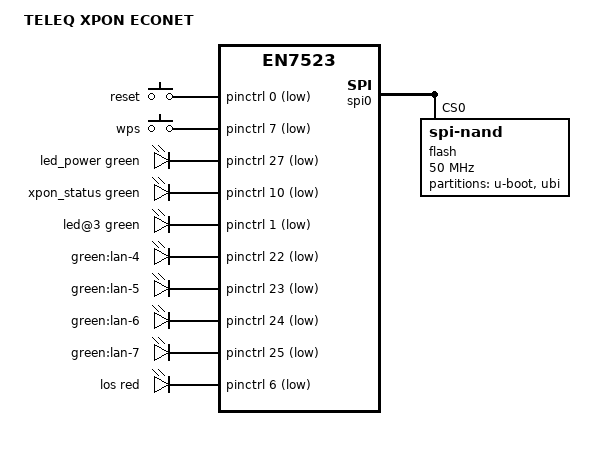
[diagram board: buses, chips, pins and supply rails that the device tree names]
/* SPDX-License-Identifier: GPL-2.0-or-later OR MIT */
/dts-v1/;

#include <dt-bindings/leds/common.h>
#include <dt-bindings/gpio/gpio.h>
#include <dt-bindings/input/input.h>
#include "en7523.dtsi"

/ {
	model = "TELEQ XPON ECONET";
	compatible = "teleq,econet", "airoha,en7523";

	chosen {
		rootdisk = <&firmware>;
		bootargs = "console=ttyS0,115200 earlycon ubi.block=0,fit root=/dev/fit0 rootwait";
		stdout-path = "serial0:115200n8";
	};

	aliases {
		serial0 = &uart1;
		led-boot = &led_power;
		led-failsafe = &led_power;
		led-upgrade = &led_power;
		led-running = &led_power;
	};

	keys {
		compatible = "gpio-keys-polled";
		poll-interval = <100>;

		reset {
			label = "reset";
			linux,code = <KEY_RESTART>;
			gpios = <&pinctrl 0 GPIO_ACTIVE_LOW>;
			debounce-interval = <60>;
		};

		wps {
			label = "wps";
			linux,code = <KEY_WPS_BUTTON>;
			gpios = <&pinctrl 7 GPIO_ACTIVE_LOW>;
			debounce-interval = <60>;
		};
		
// TO BE DEFINED
//		wifi {
//			label = "wifi";
//			linux,code = <KEY_WIFI_BUTTON>;
//			gpios = <&pinctrl x GPIO_ACTIVE_LOW>;
//			debounce-interval = <60>;
//		}; 
	};

	leds {
		compatible = "gpio-leds";

		// Power
		led_power: led@0 {
			color = <LED_COLOR_ID_GREEN>;
			function = LED_FUNCTION_STATUS;
			function-enumerator = <0>;
			gpios = <&pinctrl 27 GPIO_ACTIVE_LOW>;
		};

		// xPON
		xpon_status: led@1 {
			color = <LED_COLOR_ID_GREEN>;
			function = LED_FUNCTION_STATUS;
			function-enumerator = <1>;
			gpios = <&pinctrl 10 GPIO_ACTIVE_LOW>;
		};

		// internet
		led@3 {
			color = <LED_COLOR_ID_GREEN>;
			function = LED_FUNCTION_WAN_ONLINE;
			function-enumerator = <3>;
			gpios = <&pinctrl 1 GPIO_ACTIVE_LOW>;
		};

		// LAN
		led@4 {
			label = "green:lan-4";
			gpios = <&pinctrl 22 GPIO_ACTIVE_LOW>;
			default-state = "off";
		};

		led@5 {
			label = "green:lan-5";
			gpios = <&pinctrl 23 GPIO_ACTIVE_LOW>;
			default-state = "off";
		};

		led@6 {
			label = "green:lan-6";
			gpios = <&pinctrl 24 GPIO_ACTIVE_LOW>;
			default-state = "off";
		};


		led@7 {
			label = "green:lan-7";
			gpios = <&pinctrl 25 GPIO_ACTIVE_LOW>;
			default-state = "off";
		};

// TO BE DEFINED
//		// Wireless
//		led@8 {
//			color = <LED_COLOR_ID_GREEN>;
//			function = LED_FUNCTION_WLAN;
//			function-enumerator = <8>;
//			gpios = <&pinctrl x GPIO_ACTIVE_LOW>;
//		};

//		// WPS
//		led@9 {
//			color = <LED_COLOR_ID_GREEN>;
//			function = LED_FUNCTION_STATUS;
//			function-enumerator = <9>;
//			gpios = <&pinctrl x GPIO_ACTIVE_HIGH>;
//		};

		// LOS
		los: led@2 {
			color = <LED_COLOR_ID_RED>;
			function = LED_FUNCTION_STATUS;
			function-enumerator = <2>;
			gpios = <&pinctrl 6 GPIO_ACTIVE_LOW>;
		};

	};
};

/*
Old maping NAND
	0x000000000000-0x000000080000 : "bootloader"
	0x000000080000-0x0000000c0000 : "romfile"
	---
	0x000006dc0000-0x000007000000 : "reservearea" (0x240000)
4-digits:
	0x0000000c0000-0x000001ec0000 : "tclinux"
	0x000001ec0000-0x000003cc0000 : "tclinux_slave"
	0x000003cc0000-0x000003dc0000 : "config"
	0x000003dc0000-0x0000047c0000 : "userdata"
7-digits:
	0x0000000c0000-0x0000028c0000 : "tclinux"
	0x0000028c0000-0x0000050c0000 : "tclinux_slave"
	0x0000050c0000-0x0000064c0000 : "data"
	0x0000064c0000-0x0000066c0000 : "config"

	---------------------------------------------------------------------

New Maping:
	0x00000000-0x00100000 : BL1 + FIP (BL2 + BL31 + BL33)
	0x00100000-0x00000000 : UBI (uboot env{1,2} + art(reservearea) + fit (firmware))
*/

&spi0 {
	flash@0 {
		reg = <0>;
		compatible = "spi-nand";
		spi-max-frequency = <50000000>;
		spi-tx-bus-width = <1>;
		spi-rx-bus-width = <2>;

		partitions {
			compatible = "fixed-partitions";
			#address-cells = <1>;
			#size-cells = <1>;

			partition@0 {
				label = "u-boot";
				reg = <0x000000 0x100000>;
				read-only;
			};

			partition@100000 {
				label = "ubi";
				compatible = "linux,ubi";
				reg = <0x100000 0x000000>;

				volumes {
					ubi-volume-ubootenv {
						volname = "ubootenv";
						nvmem-layout {
							compatible = "u-boot,env-redundant-bool";
						};
					};

					ubi-volume-ubootenv2 {
						volname = "ubootenv2";
						nvmem-layout {
							compatible = "u-boot,env-redundant-bool";

							ubootenv_ethaddr: ethaddr {
								#nvmem-cell-cells = <1>;
						};
					};

					ubi-volume-art {
						volname = "art";
						read-only;

						nvmem-layout {
							compatible = "fixed-layout";
							#address-cells = <1>;
							#size-cells = <1>;

							eeprom: eeprom@4c000 {
								reg = <0x4c000 0x1000>;
							};

							en7571_bob: en7571_bob@140497 {
								reg = <0x140497 0xff>;
							};
						};
					};

					firmware: ubi-volume-firmware {
						volname = "fit";
						compatible = "denx,uimage";
					};
				};
			};
		};
	};
};

&npu {
	firmware-name = "airoha/en7523_7916_npu_rv32.bin",
			"airoha/en7523_7916_npu_data.bin";
	status = "okay";
};

&usb0 {
	status = "okay";
};

&pcie0 {
	status = "okay";
	/delete-property/ pinctrl-names;
	/delete-property/ pinctrl-0;
};

&pcie1 {
	status = "okay";
	/delete-property/ pinctrl-names;
	/delete-property/ pinctrl-0;

	pcie@1,0 {
		reg = <0x00000800 0 0 0 0>;
		#address-cells = <3>;
		#size-cells = <2>;

		mt7915@0,0 {
			reg = <0x0000 0 0 0 0>;
			#address-cells = <1>;
			#size-cells = <0>;
			nvmem-cells = <&eeprom>;
			nvmem-cell-names = "eeprom";
			airoha,npu = <&npu>;
			airoha,eth = <&eth>;

			// 2.4 GHz
			band@0 {
				reg = <0>;
				nvmem-cells = <&ubootenv_ethaddr 1>;
				nvmem-cell-names = "mac-address";
			};

			// 5 GHz
			band@1 {
				reg = <1>;
				nvmem-cells = <&ubootenv_ethaddr 2>;
				nvmem-cell-names = "mac-address";
			};
		};
	};
};

&eth {
	status = "okay";
};

&i2c0 {
	status = "okay";

	en7571: lddla@70 {
		compatible = "airoha,en7571";
		reg = <0x70>;

		nvmem-cells = <&en7571_bob>;
		nvmem-cell-names = "calibration";

		#optical-frontend-cells = <0>;
	};
};

&xpon_phy {
	status = "okay";
};

&xpon {
	status = "okay";
	airoha,gpon-serial-from-mac;
	omci-vendor-id = "VTGR";

	optical-frontends = <&en7571>;
	optical-frontend-names = "pon";

	leds = <&xpon_status>, <&los>;
	led-names = "pon", "los";
};

&gdm2 {
	status = "okay";
	phy-mode = "internal";

	nvmem-cells = <&ubootenv_ethaddr 0>;
	nvmem-cell-names = "mac-address";

	/delete-property/ pcs-handle;
	/delete-property/ phy-handle;
	/delete-property/ managed;

	airoha,xpon-managed;
	openwrt,netdev-name = "pon0";
};

&gdm1 {
	status = "okay";
	nvmem-cells = <&ubootenv_ethaddr 0>;
	nvmem-cell-names = "mac-address";
};

&switch {
	status = "okay";
};

&gsw_port1 {
	label = "lan1";
	status = "okay";
};

&gsw_port2 {
	label = "lan2";
	status = "okay";
};

&gsw_port3 {
	label = "lan3";
	status = "okay";
};

&gsw_port4 {
	label = "lan4";
	status = "okay";
};

&gsw_port6 {
	nvmem-cells = <&ubootenv_ethaddr 0>;
	nvmem-cell-names = "mac-address";
};

&gsw_phy1 {
	status = "okay";
	/delete-property/ pinctrl-names;
	/delete-property/ pinctrl-0;
};

&gsw_phy2 {
	status = "okay";
	/delete-property/ pinctrl-names;
	/delete-property/ pinctrl-0;
};

&gsw_phy3 {
	status = "okay";
	/delete-property/ pinctrl-names;
	/delete-property/ pinctrl-0;
};

&gsw_phy4 {
	status = "okay";
	/delete-property/ pinctrl-names;
	/delete-property/ pinctrl-0;
};

&gsw_phy1_led0 {
	status = "disabled";
};

&gsw_phy2_led0 {
	status = "disabled";
};

&gsw_phy3_led0 {
	status = "disabled";
};

&gsw_phy4_led0 {
	status = "disabled";
};
